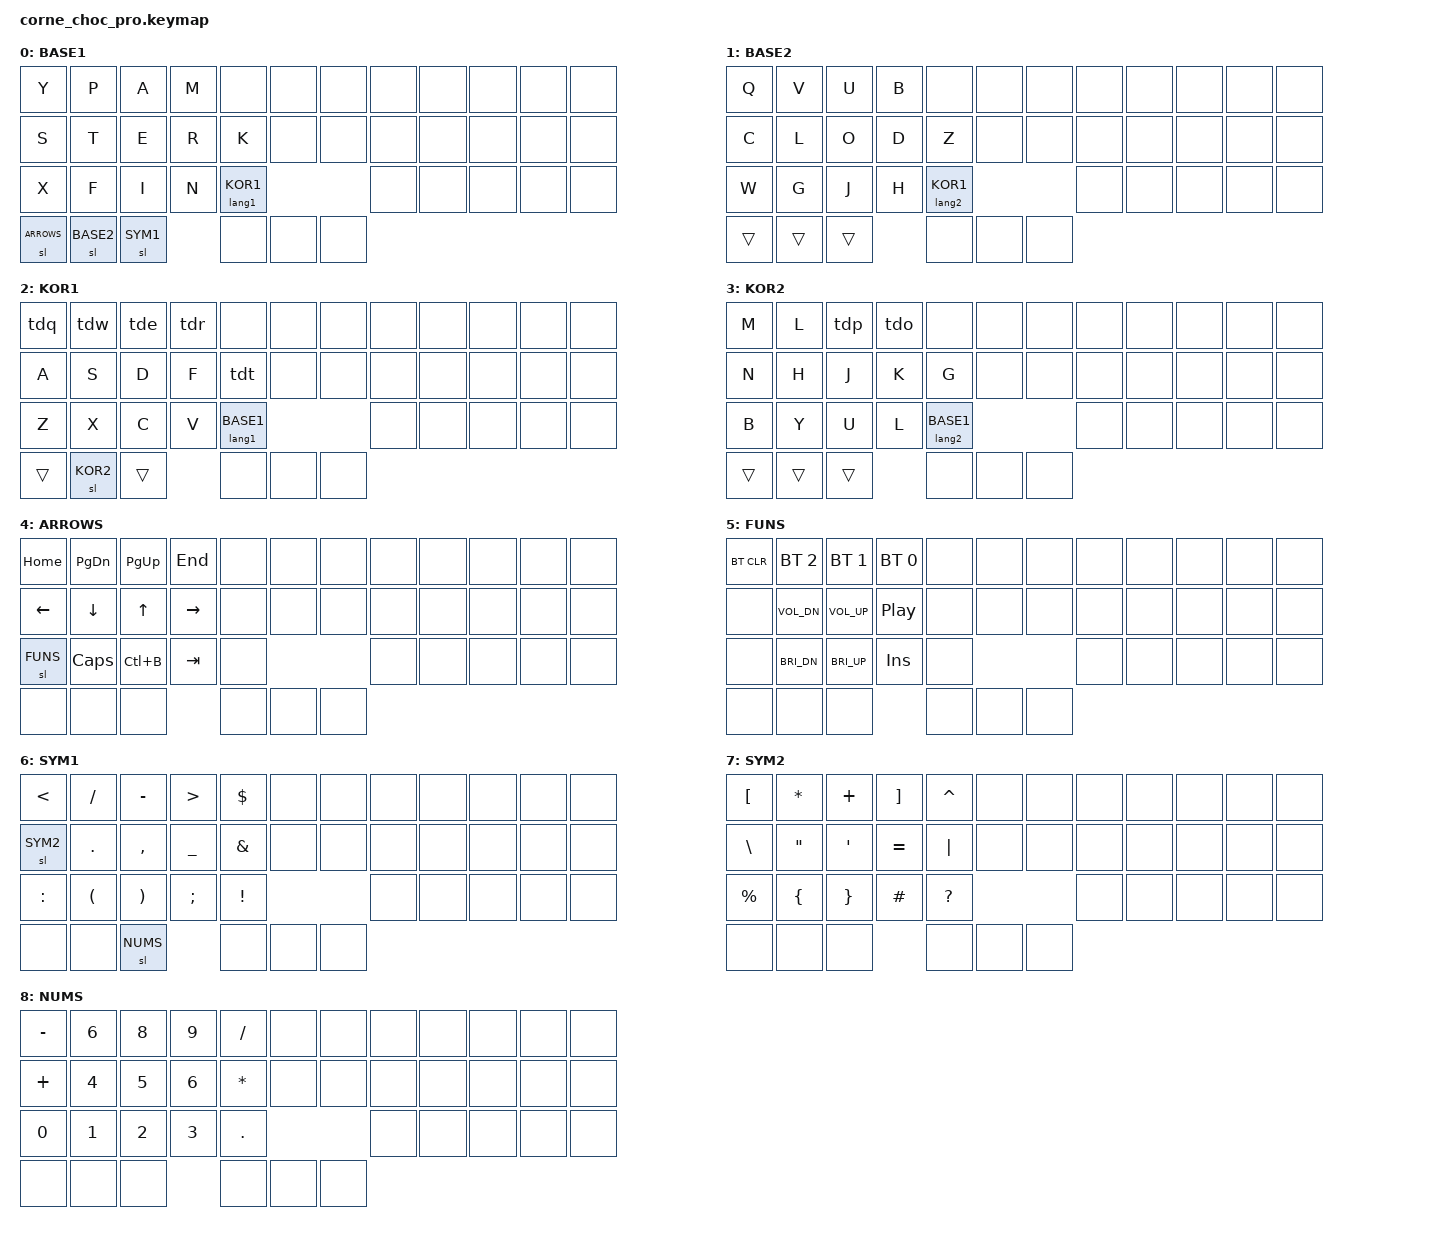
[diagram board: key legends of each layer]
/*
 * Copyright (c) 2020 The ZMK Contributors
 *
 * SPDX-License-Identifier: MIT
 */

#include <behaviors.dtsi>
#include <dt-bindings/zmk/keys.h>
#include <dt-bindings/zmk/bt.h>

#define BASE1  0
#define BASE2  1
#define KOR1   2
#define KOR2   3
#define ARROWS 4
#define FUNS   5
#define SYM1   6
#define SYM2   7
#define NUMS   8

/ {
   chosen {
      zmk,physical-layout = &five_col_layout;
   };
};

&sl {
    release-after-ms = <500>;
};

&sk {
    release-after-ms = <500>;
};

/ {
   macros {
      lang1: lang1 {
         compatible = "zmk,behavior-macro-one-param";
         wait-ms = <0>;
         tap-ms = <0>;
         #binding-cells = <1>;
         bindings =
            <&macro_tap &kp LC(SPACE)>
            , <&macro_param_1to1>
            , <&macro_tap &to MACRO_PLACEHOLDER>;
      };
      lang2: lang2 {
         compatible = "zmk,behavior-macro-one-param";
         wait-ms = <0>;
         tap-ms = <0>;
         #binding-cells = <1>;
         bindings =
            <&macro_param_1to1>
            , <&macro_tap &to MACRO_PLACEHOLDER>;
      };
   };
   combos {
        compatible = "zmk,combos";
        combo_f1 {
            key-positions = <16 25>;
            bindings = <&kp F1>;
            layers = <8>;
        };
        combo_f2 {
            key-positions = <16 26>;
            bindings = <&kp F2>;
            layers = <8>;
        };
        combo_f3 {
            key-positions = <16 27>;
            bindings = <&kp F3>;
            layers = <8>;
        };
        combo_f4 {
            key-positions = <16 13>;
            bindings = <&kp F4>;
            layers = <8>;
        };
        combo_f5 {
            key-positions = <16 14>;
            bindings = <&kp F5>;
            layers = <8>;
        };
        combo_f6 {
            key-positions = <16 15>;
            bindings = <&kp F6>;
            layers = <8>;
        };
        combo_f7 {
            key-positions = <16 1>;
            bindings = <&kp F7>;
            layers = <8>;
        };
        combo_f8 {
            key-positions = <16 2>;
            bindings = <&kp F8>;
            layers = <8>;
        };
        combo_f9 {
            key-positions = <16 3>;
            bindings = <&kp F9>;
            layers = <8>;
        };
        combo_f10 {
            key-positions = <16 24>;
            bindings = <&kp F10>;
            layers = <8>;
        };
        combo_f11 {
            key-positions = <16 12>;
            bindings = <&kp F11>;
            layers = <8>;
        };
        combo_f12 {
            key-positions = <16 0>;
            bindings = <&kp F12>;
            layers = <8>;
        };
        combo_tilde {
            key-positions = <1 2>;
            bindings = <&kp TILDE>;
            layers = <6>;
        };
        combo_at {
            key-positions = <1 2>;
            bindings = <&kp AT>;
            layers = <7>;
        };
        combo_grave {
            key-positions = <13 14>;
            bindings = <&kp GRAVE>;
            layers = <7>;
        };
        combo_space {
            key-positions = <13 15>;
            bindings = <&kp SPACE>;
            layers = <0 1 2 3>;
        };
        combo_ret {
            key-positions = <12 15>;
            bindings = <&kp RET>;
            layers = <0 1 2 3>;
        };
        combo_bspc {
            key-positions = <1 3>;
            bindings = <&kp BSPC>;
            layers = <0 1 2 3>;
        };
        combo_del {
            key-positions = <0 3>;
            bindings = <&kp DEL>;
            layers = <0 1 2 3>;
        };
        combo_esc {
            key-positions = <25 27>;
            bindings = <&kp ESC>;
            layers = <0 1 2 3>;
        };
        combo_lshft {
            key-positions = <24 27>;
            bindings = <&sk LSHFT>;
            layers = <0 1 2 3>;
        };
        combo_cw {
            key-positions = <24 26>;
            bindings = <&caps_word>;
            layers = <0 1 2 3>;
        };
        combo_lcmd {
            key-positions = <15 16>;
            bindings = <&sk LCMD>;
            layers = <0 1 2 3>;
        };
        combo_lctrl {
            key-positions = <27 28>;
            bindings = <&sk LCTRL>;
            layers = <0 1 2 3>;
        };
        combo_lalt {
            key-positions = <3 4>;
            bindings = <&sk LALT>;
            layers = <0 1 2 3>;
        };
    };
    behaviors {
        tdq: tdq {
            compatible = "zmk,behavior-tap-dance";
            #binding-cells = <0>;
            bindings = <&kp Q>, <&kp LS(Q)>;
        };
        tdw: tdw {
            compatible = "zmk,behavior-tap-dance";
            #binding-cells = <0>;
            bindings = <&kp W>, <&kp LS(W)>;
        };
        tde: tde {
            compatible = "zmk,behavior-tap-dance";
            #binding-cells = <0>;
            bindings = <&kp E>, <&kp LS(E)>;
        };
        tdr: tdr {
            compatible = "zmk,behavior-tap-dance";
            #binding-cells = <0>;
            bindings = <&kp R>, <&kp LS(R)>;
        };
        tdt: tdt {
            compatible = "zmk,behavior-tap-dance";
            #binding-cells = <0>;
            bindings = <&kp T>, <&kp LS(T)>;
        };
        tdp: tdp {
            compatible = "zmk,behavior-tap-dance";
            #binding-cells = <0>;
            bindings = <&kp P>, <&kp LS(P)>;
        };
        tdo: tdo {
            compatible = "zmk,behavior-tap-dance";
            #binding-cells = <0>;
            bindings = <&kp O>, <&kp LS(O)>;
        };
    };
   keymap {
      compatible = "zmk,keymap";
      base1_layer {
         display-name = "BASE1";
         bindings = <
            &kp Y &kp P &kp A &kp M &none       &none &none &none &none &none &none &none
            &kp S &kp T &kp E &kp R &kp K       &none &none &none &none &none &none &none
            &kp X &kp F &kp I &kp N &lang1 KOR1             &none &none &none &none &none
            &sl ARROWS &sl BASE2 &sl SYM1 &none &none &none
            >;
      };
      base2_layer {
         display-name = "BASE2";
         bindings = <
            &kp Q &kp V &kp U &kp B &none       &none &none &none &none &none &none &none
            &kp C &kp L &kp O &kp D &kp Z       &none &none &none &none &none &none &none
            &kp W &kp G &kp J &kp H &lang2 KOR1             &none &none &none &none &none
            &trans &trans &trans &none &none &none
            >;
      };
      kor1_layer {
         display-name = "KOR1";
         bindings = <
            &tdq  &tdw  &tde  &tdr  &none        &none &none &none &none &none &none &none
            &kp A &kp S &kp D &kp F &tdt         &none &none &none &none &none &none &none
            &kp Z &kp X &kp C &kp V &lang1 BASE1             &none &none &none &none &none
            &trans &sl KOR2 &trans &none &none &none
            >;
      };
      kor2_layer {
         display-name = "KOR2";
         bindings = <
            &kp M &kp L &tdp  &tdo  &none        &none &none &none &none &none &none &none
            &kp N &kp H &kp J &kp K &kp G        &none &none &none &none &none &none &none
            &kp B &kp Y &kp U &kp L &lang2 BASE1             &none &none &none &none &none
            &trans &trans &trans &none &none &none
            >;
      };
      arrows_layer {
         display-name = "ARROWS";
         bindings = <
            &kp HOME &kp PG_DN &kp PG_UP &kp END   &none &none &none &none &none &none &none &none
            &kp LEFT &kp DOWN  &kp UP    &kp RIGHT &none &none &none &none &none &none &none &none
            &sl FUNS &kp CAPS  &kp LC(B) &kp TAB   &none             &none &none &none &none &none
            &none &none &none &none &none &none
            >;
      };
      funs_layer {
         display-name = "FUNS";
         bindings = <
            &bt BT_CLR &bt BT_SEL 2 &bt BT_SEL 1 &bt BT_SEL 0 &none &none &none &none &none &none &none &none
            &none      &kp C_VOL_DN &kp C_VOL_UP &kp C_PP     &none &none &none &none &none &none &none &none
            &none      &kp C_BRI_DN &kp C_BRI_UP &kp INS      &none             &none &none &none &none &none
            &none &none &none &none &none &none
            >;
      };
      sym1_layer {
         display-name = "SYM1";
         bindings = <
            &kp LT    &kp FSLH &kp MINUS &kp GT    &kp DLLR  &none &none &none &none &none &none &none
            &sl SYM2  &kp DOT  &kp COMMA &kp UNDER &kp AMPS  &none &none &none &none &none &none &none
            &kp COLON &kp LPAR &kp RPAR  &kp SEMI  &kp EXCL             &none &none &none &none &none
            &none &none &sl NUMS &none &none &none
            >;
      };
      sym2_layer {
         display-name = "SYM2";
         bindings = <
            &kp LBKT  &kp STAR &kp PLUS &kp RBKT &kp CARET &none &none &none &none &none &none &none
            &kp BSLH  &kp DQT  &kp SQT  &kp EQL  &kp PIPE  &none &none &none &none &none &none &none
            &kp PRCNT &kp LBRC &kp RBRC &kp HASH &kp QMARK             &none &none &none &none &none
            &none &none &none &none &none &none
            >;
      };
      nums_layer {
         display-name = "NUMS";
         bindings = <
            &kp MINUS &kp N6 &kp N8 &kp N9 &kp FSLH &none &none &none &none &none &none &none
            &kp PLUS  &kp N4 &kp N5 &kp N6 &kp STAR &none &none &none &none &none &none &none
            &kp N0    &kp N1 &kp N2 &kp N3 &kp DOT              &none &none &none &none &none
            &none &none &none &none &none &none
            >;
      };
   };
};
